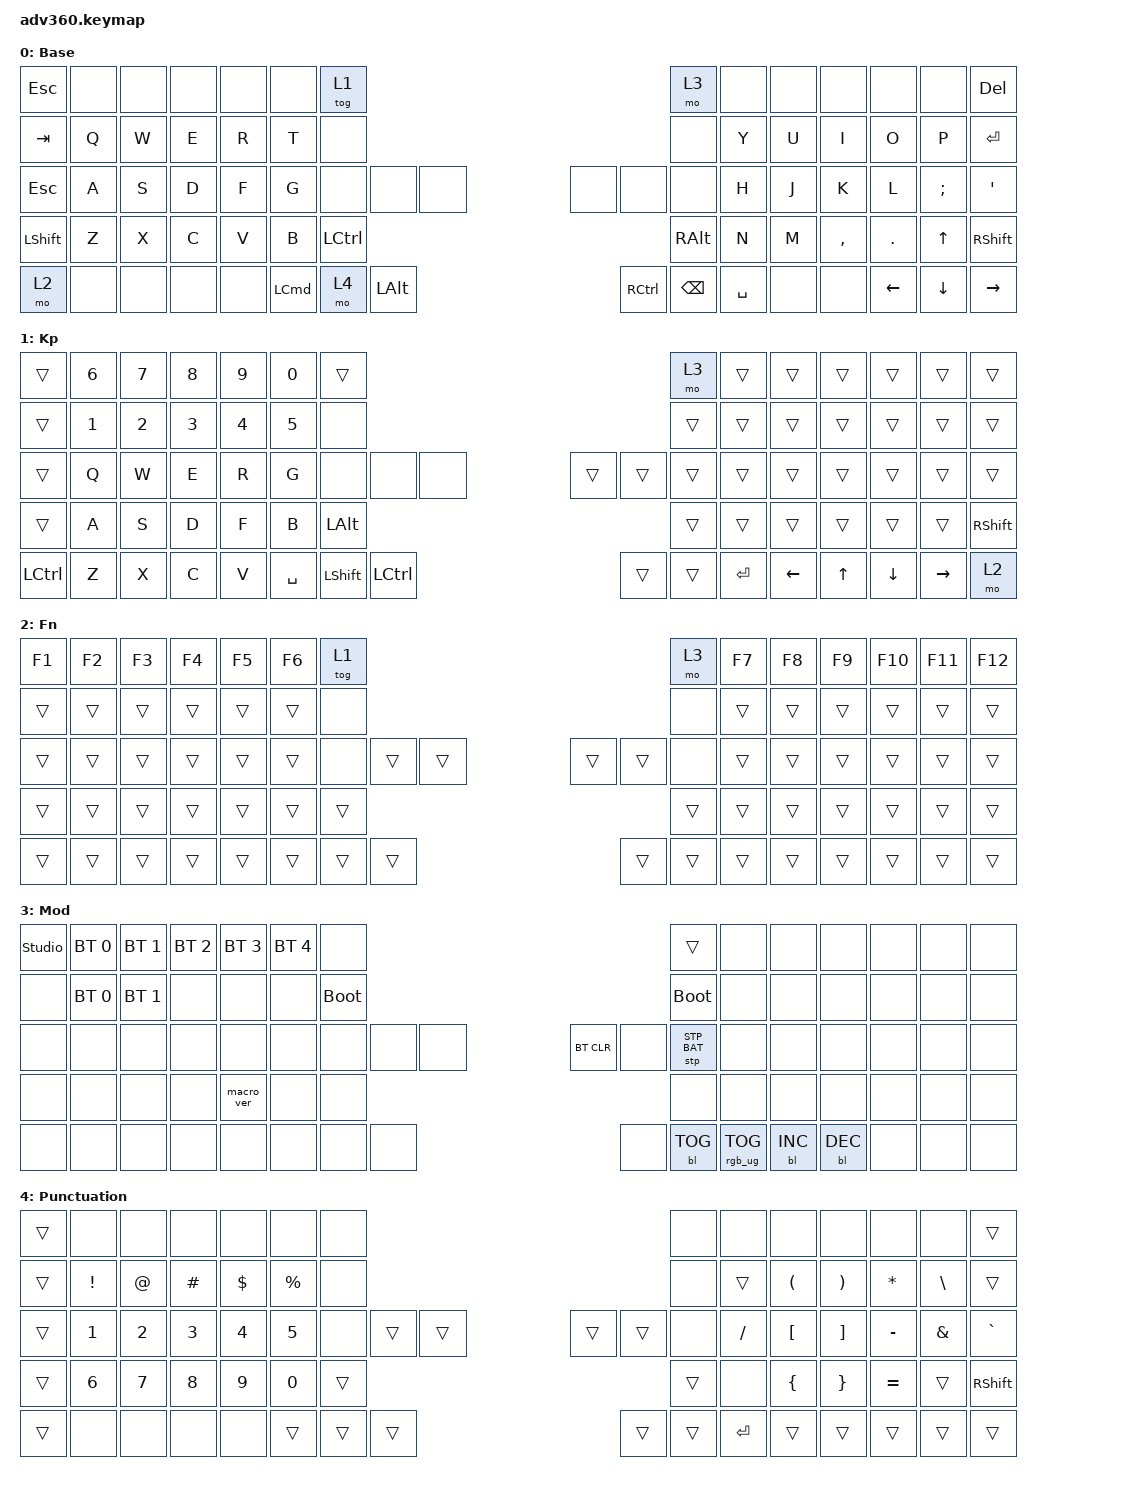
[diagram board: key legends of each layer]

/*
 * Copyright (c) 2020 The ZMK Contributors
 *
 * SPDX-License-Identifier: MIT
 */


/* THIS FILE WAS GENERATED!
 *
 * This file was generated automatically. You may or may not want to
 * edit it directly.
 */

#include <behaviors.dtsi>
#include <dt-bindings/zmk/keys.h>
#include <dt-bindings/zmk/bt.h>
#include <dt-bindings/zmk/rgb.h>
#include <dt-bindings/zmk/stp.h>
#include <dt-bindings/zmk/backlight.h>
#include <dt-bindings/zmk/pointing.h>

/ {
  behaviors {
    #include "macros.dtsi"
    #include "version.dtsi"

    hm: homerow_mods {
        compatible = "zmk,behavior-hold-tap";
        label = "HOMEROW_MODS";
        #binding-cells = <2>;
        tapping-term-ms = <200>;
        quick_tap_ms = <175>;
        flavor = "tap-preferred";
        bindings = <&kp>, <&kp>;
    };
  };

    keymap {
        compatible = "zmk,keymap";


        default_layer {
            display-name = "Base";
            bindings = <
   &kp ESC   &none   &none   &none   &none   &none                      &tog 1                                                                          &mo 3   &none   &none      &none     &none     &none       &kp DELETE
   &kp TAB   &kp Q   &kp W   &kp E   &kp R   &kp T                       &none                                                                          &none   &kp Y   &kp U      &kp I     &kp O     &kp P        &kp ENTER
   &kp ESC   &kp A   &kp S   &kp D   &kp F   &kp G                       &none   &none         &none                          &none          &none      &none   &kp H   &kp J      &kp K     &kp L  &kp SEMI          &kp SQT
 &kp LSHFT   &kp Z   &kp X   &kp C   &kp V   &kp B                                         &kp LCTRL                  &kp RIGHT_ALT                             &kp N   &kp M  &kp COMMA   &kp DOT    &kp UP  &kp RIGHT_SHIFT
     &mo 2   &none   &none   &none   &none                    &kp LEFT_COMMAND   &mo 4  &kp LEFT_ALT                      &kp RCTRL  &kp BACKSPACE  &kp SPACE           &none      &none  &kp LEFT  &kp DOWN        &kp RIGHT
            >;
        };

        layer_keypad {
            display-name = "Kp";
            bindings = <
    &trans  &kp N6  &kp N7  &kp N8  &kp N9  &kp N0               &trans                                                                        &mo 3  &trans    &trans  &trans    &trans     &trans     &trans
    &trans  &kp N1  &kp N2  &kp N3  &kp N4  &kp N5                &none                                                                       &trans  &trans    &trans  &trans    &trans     &trans     &trans
    &trans   &kp Q   &kp W   &kp E   &kp R   &kp G                &none           &none             &none                  &trans  &trans     &trans  &trans    &trans  &trans    &trans     &trans     &trans
    &trans   &kp A   &kp S   &kp D   &kp F   &kp B                                           &kp LEFT_ALT                  &trans                     &trans    &trans  &trans    &trans     &trans  &kp RSHFT
 &kp LCTRL   &kp Z   &kp X   &kp C   &kp V                    &kp SPACE  &kp LEFT_SHIFT  &kp LEFT_CONTROL                  &trans  &trans  &kp ENTER          &kp LEFT  &kp UP  &kp DOWN  &kp RIGHT      &mo 2
            >;
        };

        layer_fn {
            display-name = "Fn";
            bindings = <
 &kp F1  &kp F2  &kp F3  &kp F4  &kp F5  &kp F6            &tog 1                                                   &mo 3  &kp F7  &kp F8  &kp F9  &kp F10  &kp F11  &kp F12
 &trans  &trans  &trans  &trans  &trans  &trans             &none                                                   &none  &trans  &trans  &trans   &trans   &trans   &trans
 &trans  &trans  &trans  &trans  &trans  &trans             &none  &trans  &trans                  &trans  &trans   &none  &trans  &trans  &trans   &trans   &trans   &trans
 &trans  &trans  &trans  &trans  &trans  &trans                            &trans                  &trans                  &trans  &trans  &trans   &trans   &trans   &trans
 &trans  &trans  &trans  &trans  &trans                    &trans  &trans  &trans                  &trans  &trans  &trans          &trans  &trans   &trans   &trans   &trans
            >;
        };

        layer_mod {
            display-name = "Mod";
            bindings = <
  &studio_unlock  &bt BT_SEL 0  &bt BT_SEL 1  &bt BT_SEL 2  &bt BT_SEL 3  &bt BT_SEL 4                  &none                                                                          &trans   &none       &none       &none   &none   &none   &none
  &none  &bt BT_SEL 0  &bt BT_SEL 1         &none         &none         &none            &bootloader                                                                     &bootloader   &none       &none       &none   &none   &none   &none
  &none         &none         &none         &none         &none         &none                  &none   &none   &none                  &bt BT_CLR       &none  &stp STP_BAT   &none       &none       &none   &none   &none   &none
  &none         &none         &none         &none    &macro_ver         &none                                  &none                       &none                                       &none       &none       &none   &none   &none   &none
  &none         &none         &none         &none         &none                                &none   &none   &none                       &none  &bl BL_TOG         &rgb_ug RGB_TOG          &bl BL_INC  &bl BL_DEC   &none   &none   &none
            >;
        };

        layer_Punctuation {
            display-name = "Punctuation";
            bindings = <
 &trans            &none   &none      &none       &none        &none             &none                                                      &none      &none                 &none                  &none      &none          &none           &trans
 &trans  &kp EXCLAMATION  &kp AT  &kp POUND  &kp DOLLAR  &kp PERCENT             &none                                                      &none     &trans  &kp LEFT_PARENTHESIS  &kp RIGHT_PARENTHESIS   &kp STAR  &kp BACKSLASH           &trans
 &trans           &kp N1  &kp N2     &kp N3      &kp N4       &kp N5             &none  &trans  &trans                  &trans  &trans      &none  &kp SLASH      &kp LEFT_BRACKET      &kp RIGHT_BRACKET  &kp MINUS  &kp AMPERSAND        &kp GRAVE
 &trans           &kp N6  &kp N7     &kp N8      &kp N9       &kp N0                            &trans                  &trans                         &none        &kp LEFT_BRACE        &kp RIGHT_BRACE  &kp EQUAL         &trans  &kp RIGHT_SHIFT
 &trans            &none   &none      &none       &none                         &trans  &trans  &trans                  &trans  &trans  &kp ENTER                           &trans                 &trans     &trans         &trans           &trans
            >;
        };

        extra2 {
            display-name = "Purple";
            status = "reserved";
        };

        extra3 {
            display-name = "Cyan";
            status = "reserved";
        };

        extra4 {
            display-name = "Yellow";
            status = "reserved";
        };

    };
};
